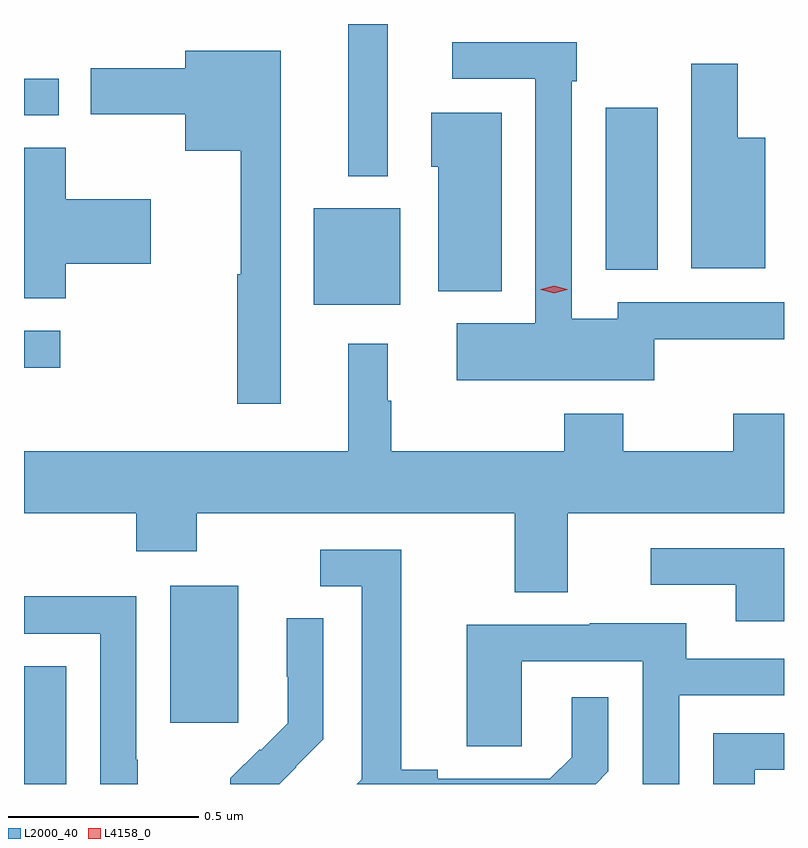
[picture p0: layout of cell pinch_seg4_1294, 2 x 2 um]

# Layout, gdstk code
import gdstk
lib = gdstk.Library(unit=1e-6, precision=1e-09)
def R(c, l, rs):  # rectangles x0, y0, x1, y1
    for r in rs: c.add(gdstk.rectangle(r[:2], r[2:], *l))
def P(c, l, *ps):  # polygons
    for p in ps: c.add(gdstk.Polygon(p, *l))
L2000_40 = (2000, 40)
L4158_0 = (4158, 0)

pinch_seg4_1294 = lib.new_cell('pinch_seg4_1294')
R(pinch_seg4_1294, L2000_40, [(246.412,760.144,246.523,760.454), (246.797,760.305,246.976,760.666), (246.412,761.239,246.508,761.337), (247.175,761.405,247.402,761.659), (247.943,761.497,248.08,761.923), (247.265,761.744,247.369,762.144), (246.412,761.904,246.503,762)])
P(pinch_seg4_1294, L2000_40, [(248.07,761.315),(248.412,761.315),(248.412,761.412),(247.974,761.412),(247.974,761.368),(247.854,761.368),(247.854,761.993),(247.867,761.993),(247.867,762.096),(247.539,762.096),(247.539,762),(247.758,762),(247.758,761.356),(247.551,761.356),(247.551,761.207),(248.07,761.207)],
  [(247.087,762.073),(246.836,762.073),(246.836,762.028),(246.588,762.028),(246.588,761.906),(246.836,761.906),(246.836,761.81),(246.983,761.81),(246.983,761.486),(246.973,761.486),(246.973,761.145),(247.087,761.145)],
  [(248.362,761.845),(248.29,761.845),(248.29,762.04),(248.168,762.04),(248.168,761.501),(248.362,761.501)],
  [(247.669,761.911),(247.484,761.911),(247.484,761.769),(247.502,761.769),(247.502,761.441),(247.669,761.441)],
  [(246.522,761.513),(246.745,761.513),(246.745,761.683),(246.522,761.683),(246.522,761.819),(246.412,761.819),(246.412,761.422),(246.522,761.422)],
  [(247.843,760.856),(248.412,760.856),(248.412,761.119),(248.278,761.119),(248.278,761.02),(247.989,761.02),(247.989,761.119),(247.834,761.119),(247.834,761.02),(247.379,761.02),(247.379,761.153),(247.369,761.153),(247.369,761.302),(247.265,761.302),(247.265,761.02),(246.412,761.02),(246.412,760.856),(246.707,760.856),(246.707,760.757),(246.867,760.757),(246.867,760.856),(247.703,760.856),(247.703,760.648),(247.843,760.648)],
  [(248.412,760.764),(248.061,760.764),(248.061,760.668),(248.285,760.668),(248.285,760.572),(248.412,760.572)],
  [(247.95,760.178),(247.95,760.372),(247.853,760.372),(247.853,760.215),(247.796,760.158),(247.501,760.158),(247.501,760.181),(247.405,760.181),(247.405,760.761),(247.191,760.761),(247.191,760.665),(247.301,760.665),(247.301,760.157),(247.288,760.144),(247.916,760.144)],
  [(246.711,760.208),(246.708,760.208),(246.708,760.638),(246.412,760.638),(246.412,760.539),(246.612,760.539),(246.612,760.144),(246.711,760.144)],
  [(247.128,760.188),(247.127,760.189),(247.2,760.262),(247.2,760.58),(247.104,760.58),(247.104,760.426),(247.106,760.426),(247.106,760.304),(247.035,760.233),(247.032,760.236),(246.955,760.159),(246.955,760.144),(247.084,760.144)],
  [(248.136,760.377),(248.412,760.377),(248.412,760.473),(248.155,760.473),(248.155,760.567),(247.901,760.567),(247.901,760.563),(247.577,760.563),(247.577,760.243),(247.722,760.243),(247.722,760.467),(248.04,760.467),(248.04,760.144),(248.136,760.144)],
  [(248.335,760.182),(248.412,760.182),(248.412,760.278),(248.226,760.278),(248.226,760.144),(248.335,760.144)])
P(pinch_seg4_1294, L4158_0, [(247.807,761.435),(247.772,761.445),(247.772,761.445),(247.772,761.446),(247.807,761.455),(247.841,761.446),(247.842,761.445),(247.841,761.445)])

lib.write_gds('pinch_seg4_1294.gds')
